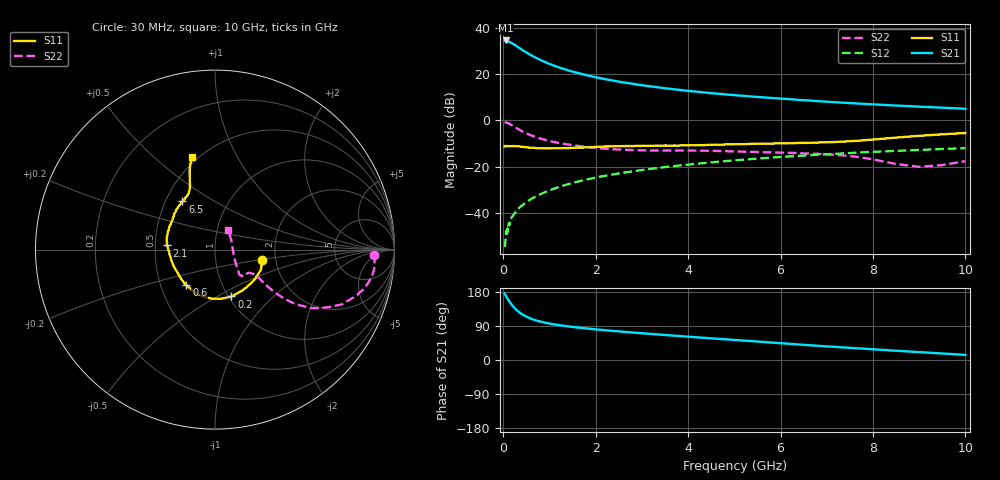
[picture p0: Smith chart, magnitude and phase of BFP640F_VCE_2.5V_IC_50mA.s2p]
! Infineon Technologies  Discrete & RF Semiconductors
! BFP640F
! VCE =  2.5 V,  IC =  50 mA
! Common Emitter S-Parameters:  Apr 2013
# GHz  S  MA  R  50
!  f  S11  S21  S12  S22
! GHz  MAG  ANG  MAG  ANG  MAG  ANG  MAG  ANG
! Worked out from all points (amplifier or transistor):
!   99 points, 30 MHz to 10 GHz, reference 50 ohm
!   highest |S21| = 34.5 dB at 50 MHz (marker M1)
!   |S21| within 3 dB of that: start of sweep to 329.7 MHz
!   unconditionally stable (mu >= 1): 1.127 GHz to end of sweep
!   at 350 MHz: K = 0.69, MSG = 34.5 dB, |S12| = -37.8 dB
!   at 3.5 GHz: K = 1.10, MAG = 15.1 dB, |S12| = -20.3 dB
!   at 10 GHz: K = 1.06, MAG = 7.1 dB, |S12| = -12.1 dB
!   S11 on the Smith chart (normalised r, x): 30 MHz: 1.70, -0.21; 200 MHz: 1.03, -0.58; 600 MHz: 0.68, -0.29; 2.1 GHz: 0.58, +0.03; 6.5 GHz: 0.61, +0.37; 10 GHz: 0.47, +0.67
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0.03  0.2706 -12.5  51.6 175.2  0.002 96.7  0.889 -1.8
0.05  0.277 -20.8  52.85 171.3  0.0026 54.1  0.8912 -5.3
0.07  0.2772 -28.3  52.48 166.8  0.0041 83.2  0.8904 -8.3
0.11  0.2751 -43.4  50.53 158.7  0.0051 81.7  0.8622 -13.9
0.15  0.2742 -56.4  48.42 151.6  0.0072 77.6  0.8219 -18.6
0.2  0.2768 -70.7  45.33 143.4  0.0084 73.5  0.7694 -23.4
0.25  0.2758 -82.1  42.4 136.6  0.0098 71.8  0.7122 -26.7
0.3  0.2739 -92.2  39.24 130.5  0.0113 74.0  0.666 -29.4
0.4  0.2683 -108.2  33.66 121.3  0.0142 72.5  0.5822 -32.7
0.5  0.2593 -119.1  29.22 114.4  0.0169 73.3  0.5202 -34.5
0.6  0.255 -128.7  25.51 109.1  0.0198 73.0  0.4717 -35.3
0.8  0.2477 -142.6  20.15 101.5  0.0251 73.4  0.4038 -35.5
1  0.2466 -153.4  16.49 96.2  0.0305 73.7  0.3564 -35.0
1.3  0.2504 -165.6  12.86 90.4  0.0386 73.1  0.31 -33.6
1.7  0.2553 -176.6  9.989 84.6  0.0496 72.0  0.2721 -32.0
2.1  0.2685 175.1  8.101 79.8  0.0604 70.2  0.2464 -33.0
3.4  0.2823 155.1  5.055 66.9  0.0943 63.7  0.2214 -38.4
5.1  0.3033 137.3  3.419 52.1  0.138 54.4  0.2106 -44.4
6.5  0.324 124.1  2.707 40.1  0.1722 46.1  0.192 -45.3
6.7  0.3272 121.9  2.627 38.4  0.1769 44.9  0.1885 -45.0
8.5  0.4213 109.5  2.073 24.4  0.2179 34.3  0.1132 -20.2
10  0.53 103.9  1.769 13.5  0.2496 25.7  0.1304 56.0
